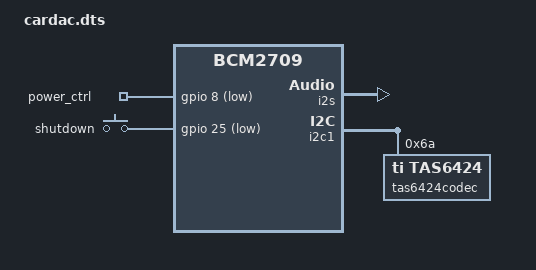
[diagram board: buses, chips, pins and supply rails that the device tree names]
/dts-v1/;
/plugin/;

/ {
	compatible = "brcm,bcm2835", "brcm,bcm2708", "brcm,bcm2709";

	fragment@0 {
		target = <&i2s>;
		__overlay__ {
			status = "okay";
		};
	};

	fragment@1 {
		target = <&i2c1>;
		__overlay__ {
			#address-cells = <1>;
			#size-cells = <0>;
			status = "okay";

			tas6424codec: tas6424@6a {
				#sound-dai-cells = <0>;
				compatible = "ti,tas6424";
				reg = <0x6a>;
				status = "okay";
			};
		};
	};

	fragment@2 {
		target = <&sound>;
		__overlay__ {
			compatible = "cardac,caramp";
			i2s-controller = <&i2s>;
			codec = <&tas6424codec>;
			status = "okay";
			clksel = <&gpio 16 0>;
		};
	};
    fragment@3 {
		// Configure the gpio pin controller
		target = <&gpio>;
		__overlay__ {
        
			pin_state: shutdown_button_pins {
				brcm,pins = <25>; // gpio number
				brcm,function = <0>; // 0 = input, 1 = output
				brcm,pull = <2>; // 0 = none, 1 = pull down, 2 = pull up
			};
            
			power_ctrl_pins: power_ctrl_pins {
				brcm,pins = <8>;
				brcm,function = <1>; // out
			};
		};
	};
	fragment@4 {
    
		target-path = "/soc";
		__overlay__ {
			shutdown_button {
				
				compatible = "gpio-keys";

				pinctrl-names = "default";
				pinctrl-0 = <&pin_state>;

				status = "okay";

				
                button: shutdown {
					label = "shutdown";
					linux,code = <116>; // KEY_POWER
					gpios = <&gpio 25 1>;
				};
			};
		};
    };
    fragment@5 {
		target-path = "/";
		__overlay__ {
			power_ctrl: power_ctrl {
				compatible = "gpio-poweroff";
				gpios = <&gpio 8 1>;
				force;
			};
		};
	};
};
